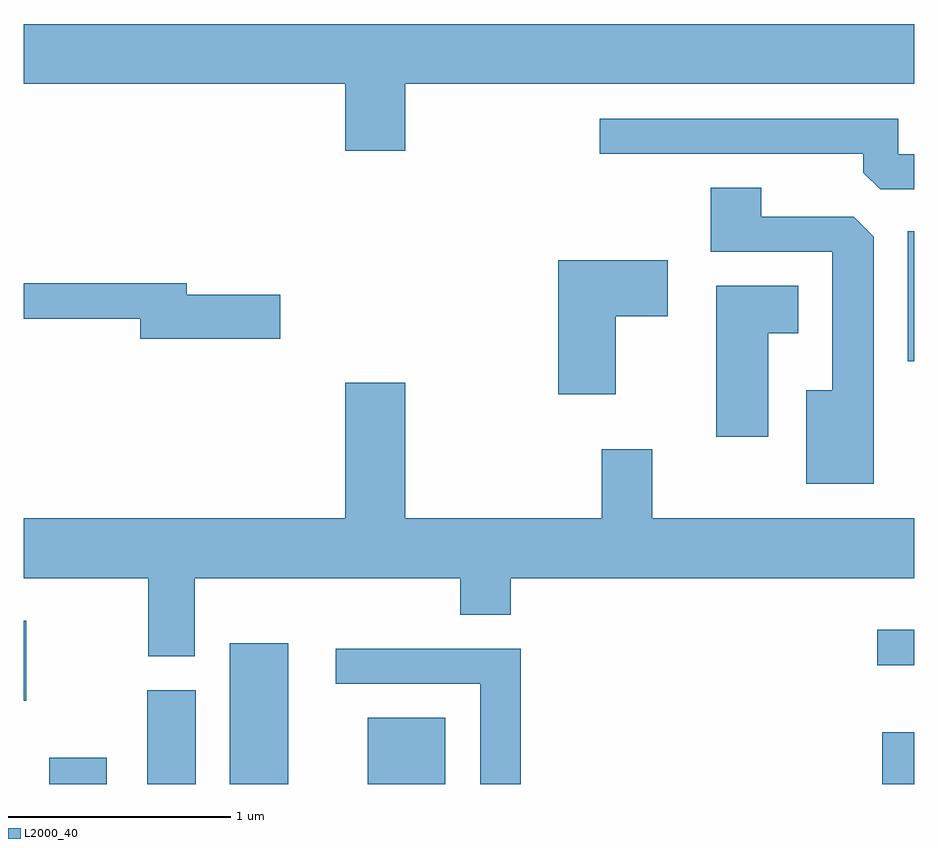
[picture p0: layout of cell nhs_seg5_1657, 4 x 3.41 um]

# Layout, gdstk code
import gdstk
lib = gdstk.Library(unit=1e-6, precision=1e-09)
def R(c, l, rs):  # rectangles x0, y0, x1, y1
    for r in rs: c.add(gdstk.rectangle(r[:2], r[2:], *l))
def P(c, l, *ps):  # polygons
    for p in ps: c.add(gdstk.Polygon(p, *l))
L2000_40 = (2000, 40)

nhs_seg5_1657 = lib.new_cell('nhs_seg5_1657')
R(nhs_seg5_1657, L2000_40, [(233.726,1478.072,233.984,1478.189), (234.166,1478.072,234.384,1478.494), (234.536,1478.072,234.799,1478.704), (235.156,1478.072,235.504,1478.369), (237.466,1478.072,237.611,1478.304), (233.611,1478.446,233.624,1478.804), (237.443,1478.606,237.611,1478.764), (237.581,1479.971,237.611,1480.554)])
P(nhs_seg5_1657, L2000_40, [(235.324,1481.216),(237.611,1481.216),(237.611,1481.484),(233.611,1481.484),(233.611,1481.216),(235.056,1481.216),(235.056,1480.916),(235.324,1480.916)],
  [(237.611,1480.899),(237.539,1480.899),(237.539,1481.059),(236.198,1481.059),(236.198,1480.901),(237.381,1480.901),(237.381,1480.817),(237.457,1480.741),(237.611,1480.741)],
  [(237.429,1480.529),(237.339,1480.619),(236.924,1480.619),(236.924,1480.749),(236.696,1480.749),(236.696,1480.461),(237.241,1480.461),(237.241,1479.839),(237.126,1479.839),(237.126,1479.421),(237.429,1479.421)],
  [(236.269,1480.171),(236.504,1480.171),(236.504,1480.424),(236.011,1480.424),(236.011,1479.821),(236.269,1479.821)],
  [(234.764,1480.269),(234.344,1480.269),(234.344,1480.319),(233.611,1480.319),(233.611,1480.161),(234.136,1480.161),(234.136,1480.071),(234.764,1480.071)],
  [(236.954,1480.096),(237.089,1480.096),(237.089,1480.309),(236.721,1480.309),(236.721,1479.631),(236.954,1479.631)],
  [(234.379,1478.996),(235.571,1478.996),(235.571,1478.831),(235.799,1478.831),(235.799,1478.996),(237.611,1478.996),(237.611,1479.264),(236.434,1479.264),(236.434,1479.574),(236.206,1479.574),(236.206,1479.264),(235.324,1479.264),(235.324,1479.874),(235.056,1479.874),(235.056,1479.264),(233.611,1479.264),(233.611,1478.996),(234.171,1478.996),(234.171,1478.646),(234.379,1478.646)],
  [(235.844,1478.679),(235.013,1478.679),(235.013,1478.521),(235.661,1478.521),(235.661,1478.072),(235.844,1478.072)])

lib.write_gds('nhs_seg5_1657.gds')
